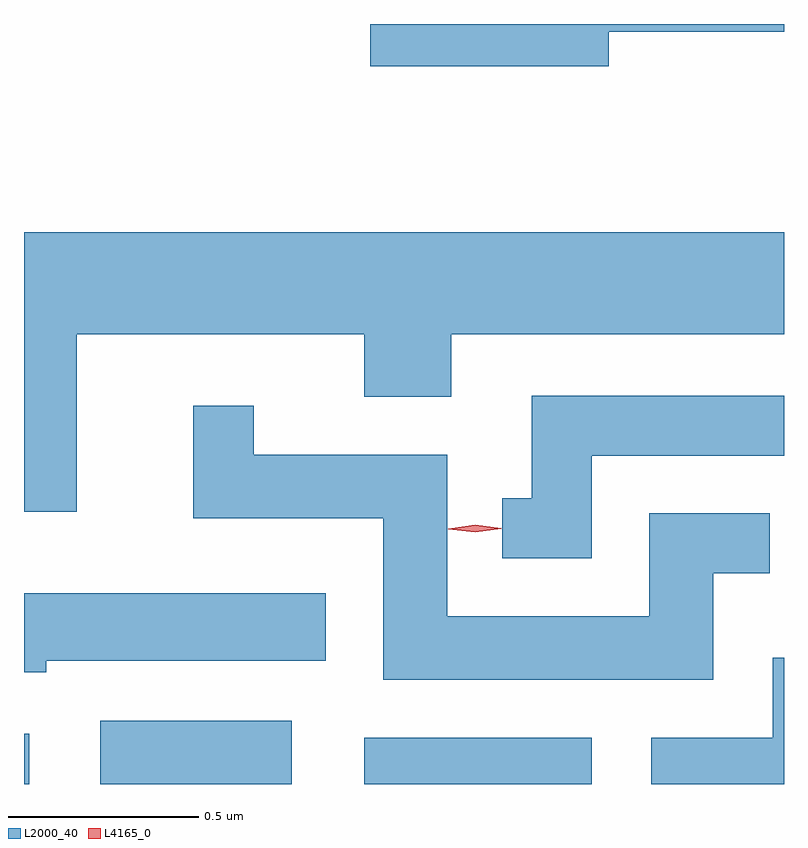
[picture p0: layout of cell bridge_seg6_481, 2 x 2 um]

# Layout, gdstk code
import gdstk
lib = gdstk.Library(unit=1e-6, precision=1e-09)
def R(c, l, rs):  # rectangles x0, y0, x1, y1
    for r in rs: c.add(gdstk.rectangle(r[:2], r[2:], *l))
def P(c, l, *ps):  # polygons
    for p in ps: c.add(gdstk.Polygon(p, *l))
L2000_40 = (2000, 40)
L4165_0 = (4165, 0)

bridge_seg6_481 = lib.new_cell('bridge_seg6_481')
R(bridge_seg6_481, L2000_40, [(805.985,1606.572,805.999,1606.704), (806.186,1606.572,806.689,1606.739), (806.881,1606.572,807.479,1606.694)])
P(bridge_seg6_481, L2000_40, [(807.524,1608.551),(807.985,1608.551),(807.985,1608.572),(806.896,1608.572),(806.896,1608.461),(807.524,1608.461)],
  [(806.124,1607.756),(806.881,1607.756),(806.881,1607.591),(807.109,1607.591),(807.109,1607.756),(807.985,1607.756),(807.985,1608.024),(805.985,1608.024),(805.985,1607.288),(806.124,1607.288)],
  [(807.479,1607.436),(807.985,1607.436),(807.985,1607.594),(807.321,1607.594),(807.321,1607.324),(807.243,1607.324),(807.243,1607.166),(807.479,1607.166)],
  [(807.799,1607.126),(807.948,1607.126),(807.948,1607.284),(807.631,1607.284),(807.631,1607.014),(807.099,1607.014),(807.099,1607.439),(806.589,1607.439),(806.589,1607.568),(806.431,1607.568),(806.431,1607.271),(806.931,1607.271),(806.931,1606.846),(807.799,1606.846)],
  [(806.044,1606.896),(806.779,1606.896),(806.779,1607.074),(805.985,1607.074),(805.985,1606.866),(806.044,1606.866)],
  [(807.985,1606.904),(807.956,1606.904),(807.956,1606.694),(807.636,1606.694),(807.636,1606.572),(807.985,1606.572)])
P(bridge_seg6_481, L4165_0, [(807.172,1607.234),(807.102,1607.243),(807.102,1607.244),(807.102,1607.244),(807.172,1607.254),(807.241,1607.245),(807.241,1607.244),(807.241,1607.244)])

lib.write_gds('bridge_seg6_481.gds')
